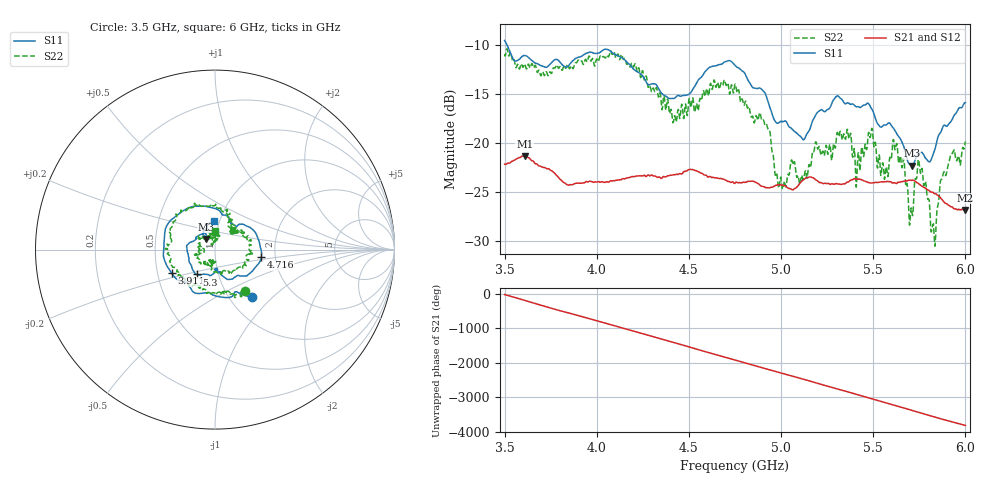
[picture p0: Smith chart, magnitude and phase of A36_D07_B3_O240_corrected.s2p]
! Created with skrf 1.9.0 (http://scikit-rf.org).
# Hz S RI R 50.0
!freq ReS11 ImS11 ReS21 ImS21 ReS12 ImS12 ReS22 ImS22
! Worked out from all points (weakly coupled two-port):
!   1601 points, 3.5 GHz to 6 GHz, reference 50 ohm
!   highest |S21| = -21.32 dB at 3.609 GHz (marker M1); lowest = -26.8 dB at 5.998 GHz (marker M2)
!   lowest |S11| = -22.3 dB at 5.711 GHz (marker M3), VSWR 1.17, Z = 45.1 + j5.35 ohm
!   |S11| at or under -10 dB: 3.513 GHz to end of sweep
!   |S22| runs from -30.5 to -10.4 dB; largest |S21 - S12| = 0.00094
!   S11 on the Smith chart (normalised r, x): 3.5 GHz: 1.27, -0.75; 3.911 GHz: 0.59, -0.17; 4.716 GHz: 1.69, -0.16; 5.3 GHz: 0.79, -0.22; 6 GHz: 0.94, +0.31
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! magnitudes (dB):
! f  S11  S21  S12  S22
! 3.5 GHz  -9.6  -22.2  -22.1  -11.0
! 3.609 GHz  -11.1  -21.3  -21.3  -12.0
! 3.911 GHz  -11.2  -24.1  -24.1  -11.7
! 3.917 GHz  -11.2  -24.1  -24.1  -11.7
! 4.334 GHz  -14.4  -23.5  -23.4  -15.3
! 4.422 GHz  -15.4  -23.2  -23.2  -17.2
! 4.716 GHz  -11.6  -23.9  -24.0  -14.3
! 4.75 GHz  -12.1  -24.1  -24.0  -14.0
! 4.928 GHz  -15.8  -24.6  -24.5  -18.5
! 4.997 GHz  -17.8  -24.2  -24.2  -23.6
! 5.167 GHz  -17.9  -23.5  -23.5  -21.4
! 5.3 GHz  -15.3  -24.1  -24.1  -19.5
! 5.417 GHz  -16.3  -23.7  -23.7  -21.1
! 5.486 GHz  -16.3  -24.1  -24.0  -19.3
! 5.584 GHz  -18.0  -23.9  -23.9  -22.5
! 5.619 GHz  -18.7  -24.1  -24.1  -20.7
! 5.711 GHz  -22.3  -23.8  -23.7  -27.2
! 5.753 GHz  -21.0  -24.2  -24.2  -22.8
! 5.827 GHz  -21.1  -25.1  -25.1  -28.2
! 5.875 GHz  -18.5  -25.8  -25.8  -23.5
! 5.998 GHz  -15.9  -26.8  -26.8  -20.0
! 6 GHz  -15.9  -26.8  -26.8  -19.8
